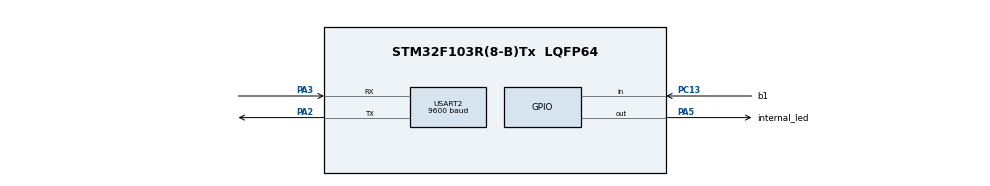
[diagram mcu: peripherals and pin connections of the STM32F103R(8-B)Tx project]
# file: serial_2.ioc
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Mcu.Family=STM32F1
Mcu.Name=STM32F103R(8-B)Tx
Mcu.Package=LQFP64
NVIC.PriorityGroup=NVIC_PRIORITYGROUP_4
NVIC.USART2_IRQn=true\:0\:0\:false\:false\:true
PA2.Mode=Asynchronous
PA2.Signal=USART2_TX
PA3.Mode=Asynchronous
PA3.Signal=USART2_RX
PA5.GPIO_Label=internal_led
PA5.Signal=GPIO_Output
PC13-TAMPER-RTC.GPIO_Label=b1
PC13-TAMPER-RTC.Signal=GPIO_Input
ProjectManager.HeapSize=0x200
ProjectManager.StackSize=0x400
ProjectManager.TargetToolchain=MDK-ARM V5
RCC.APB1Freq_Value=8000000
RCC.APB2Freq_Value=8000000
USART2.BaudRate=9600
USART2.VirtualMode=VM_ASYNC
VP_SYS_VS_ND.Mode=No_Debug
board=serial_2

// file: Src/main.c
/**
  ******************************************************************************
  * File Name          : main.c
  * Description        : Main program body
  ******************************************************************************
  ** This notice applies to any and all portions of this file
  * that are not between comment pairs USER CODE BEGIN and
  * USER CODE END. Other portions of this file, whether
  * inserted by the user or by software development tools
  * are owned by their respective copyright owners.
  *
  * COPYRIGHT(c) 2017 STMicroelectronics
  *
  * Redistribution and use in source and binary forms, with or without modification,
  * are permitted provided that the following conditions are met:
  *   1. Redistributions of source code must retain the above copyright notice,
  *      this list of conditions and the following disclaimer.
  *   2. Redistributions in binary form must reproduce the above copyright notice,
  *      this list of conditions and the following disclaimer in the documentation
  *      and/or other materials provided with the distribution.
  *   3. Neither the name of STMicroelectronics nor the names of its contributors
  *      may be used to endorse or promote products derived from this software
  *      without specific prior written permission.
  *
  * THIS SOFTWARE IS PROVIDED BY THE COPYRIGHT HOLDERS AND CONTRIBUTORS "AS IS"
  * AND ANY EXPRESS OR IMPLIED WARRANTIES, INCLUDING, BUT NOT LIMITED TO, THE
  * IMPLIED WARRANTIES OF MERCHANTABILITY AND FITNESS FOR A PARTICULAR PURPOSE ARE
  * DISCLAIMED. IN NO EVENT SHALL THE COPYRIGHT HOLDER OR CONTRIBUTORS BE LIABLE
  * FOR ANY DIRECT, INDIRECT, INCIDENTAL, SPECIAL, EXEMPLARY, OR CONSEQUENTIAL
  * DAMAGES (INCLUDING, BUT NOT LIMITED TO, PROCUREMENT OF SUBSTITUTE GOODS OR
  * SERVICES; LOSS OF USE, DATA, OR PROFITS; OR BUSINESS INTERRUPTION) HOWEVER
  * CAUSED AND ON ANY THEORY OF LIABILITY, WHETHER IN CONTRACT, STRICT LIABILITY,
  * OR TORT (INCLUDING NEGLIGENCE OR OTHERWISE) ARISING IN ANY WAY OUT OF THE USE
  * OF THIS SOFTWARE, EVEN IF ADVISED OF THE POSSIBILITY OF SUCH DAMAGE.
  *
  ******************************************************************************
  */
#include "main.h"
#include "stm32f1xx_hal.h"

UART_HandleTypeDef huart2;

/* USER CODE BEGIN PV */
/* Private variables ---------------------------------------------------------*/

/* USER CODE END PV */

void SystemClock_Config(void);
static void MX_GPIO_Init(void);
static void MX_USART2_UART_Init(void);

/* USER CODE BEGIN PFP */
/* Private function prototypes -----------------------------------------------*/

/* USER CODE END PFP */

int main(void)
{

  /* MCU Configuration----------------------------------------------------------*/

  /* Reset of all peripherals, Initializes the Flash interface and the Systick. */
  HAL_Init();

  /* Configure the system clock */
  SystemClock_Config();

  /* Initialize all configured peripherals */
  MX_GPIO_Init();
  MX_USART2_UART_Init();

  /* USER CODE BEGIN 2 */

	HAL_StatusTypeDef RcvStat ;
	uint8_t bufftx[10] = "Hello!\n" ;
	uint8_t b_in[10] = "b_in\n" ;
	uint8_t UsartData[10] ;
	uint8_t pin_state ;

	HAL_UART_Transmit(&huart2, bufftx, 10, 100) ;

  /* USER CODE END 2 */

  /* Infinite loop */
  while (1)
  {

  /* USER CODE BEGIN 3 */

		RcvStat = HAL_UART_Receive(&huart2, UsartData, 1, 100) ;

		if (RcvStat == HAL_OK) {
			if (UsartData[0] == 'a') {  // if serial input is 'a', led on
				HAL_GPIO_WritePin(internal_led_GPIO_Port, internal_led_Pin, GPIO_PIN_SET) ;
			} else if (UsartData[0] == 'b') {  // if serial input is 'a', led off
				HAL_GPIO_WritePin(internal_led_GPIO_Port, internal_led_Pin, GPIO_PIN_RESET) ;
			}

			HAL_UART_Transmit(&huart2, UsartData, 1, 100) ;
		}

		pin_state = HAL_GPIO_ReadPin(b1_GPIO_Port, b1_Pin) ;

		if (!pin_state) {  // if b1 is low, send b_in
			HAL_UART_Transmit(&huart2, b_in, 10, 100) ;
		}

  }
  /* USER CODE END 3 */

}

/** System Clock Configuration
*/
void SystemClock_Config(void)
{

  RCC_OscInitTypeDef RCC_OscInitStruct;
  RCC_ClkInitTypeDef RCC_ClkInitStruct;

    /**Initializes the CPU, AHB and APB busses clocks
    */
  RCC_OscInitStruct.OscillatorType = RCC_OSCILLATORTYPE_HSI;
  RCC_OscInitStruct.HSIState = RCC_HSI_ON;
  RCC_OscInitStruct.HSICalibrationValue = 16;
  RCC_OscInitStruct.PLL.PLLState = RCC_PLL_NONE;
  if (HAL_RCC_OscConfig(&RCC_OscInitStruct) != HAL_OK)
  {
    _Error_Handler(__FILE__, __LINE__);
  }

    /**Initializes the CPU, AHB and APB busses clocks
    */
  RCC_ClkInitStruct.ClockType = RCC_CLOCKTYPE_HCLK|RCC_CLOCKTYPE_SYSCLK
                              |RCC_CLOCKTYPE_PCLK1|RCC_CLOCKTYPE_PCLK2;
  RCC_ClkInitStruct.SYSCLKSource = RCC_SYSCLKSOURCE_HSI;
  RCC_ClkInitStruct.AHBCLKDivider = RCC_SYSCLK_DIV1;
  RCC_ClkInitStruct.APB1CLKDivider = RCC_HCLK_DIV1;
  RCC_ClkInitStruct.APB2CLKDivider = RCC_HCLK_DIV1;

  if (HAL_RCC_ClockConfig(&RCC_ClkInitStruct, FLASH_LATENCY_0) != HAL_OK)
  {
    _Error_Handler(__FILE__, __LINE__);
  }

    /**Configure the Systick interrupt time
    */
  HAL_SYSTICK_Config(HAL_RCC_GetHCLKFreq()/1000);

    /**Configure the Systick
    */
  HAL_SYSTICK_CLKSourceConfig(SYSTICK_CLKSOURCE_HCLK);

  /* SysTick_IRQn interrupt configuration */
  HAL_NVIC_SetPriority(SysTick_IRQn, 0, 0);
}

/* USART2 init function */
static void MX_USART2_UART_Init(void)
{

  huart2.Instance = USART2;
  huart2.Init.BaudRate = 9600;
  huart2.Init.WordLength = UART_WORDLENGTH_8B;
  huart2.Init.StopBits = UART_STOPBITS_1;
  huart2.Init.Parity = UART_PARITY_NONE;
  huart2.Init.Mode = UART_MODE_TX_RX;
  huart2.Init.HwFlowCtl = UART_HWCONTROL_NONE;
  huart2.Init.OverSampling = UART_OVERSAMPLING_16;
  if (HAL_UART_Init(&huart2) != HAL_OK)
  {
    _Error_Handler(__FILE__, __LINE__);
  }

}

/** Configure pins as
        * Analog
        * Input
        * Output
        * EVENT_OUT
        * EXTI
*/
static void MX_GPIO_Init(void)
{

  GPIO_InitTypeDef GPIO_InitStruct;

  /* GPIO Ports Clock Enable */
  __HAL_RCC_GPIOC_CLK_ENABLE();
  __HAL_RCC_GPIOA_CLK_ENABLE();

  /*Configure GPIO pin Output Level */
  HAL_GPIO_WritePin(internal_led_GPIO_Port, internal_led_Pin, GPIO_PIN_RESET);

  /*Configure GPIO pin : b1_Pin */
  GPIO_InitStruct.Pin = b1_Pin;
  GPIO_InitStruct.Mode = GPIO_MODE_INPUT;
  GPIO_InitStruct.Pull = GPIO_NOPULL;
  HAL_GPIO_Init(b1_GPIO_Port, &GPIO_InitStruct);

  /*Configure GPIO pin : internal_led_Pin */
  GPIO_InitStruct.Pin = internal_led_Pin;
  GPIO_InitStruct.Mode = GPIO_MODE_OUTPUT_PP;
  GPIO_InitStruct.Speed = GPIO_SPEED_FREQ_LOW;
  HAL_GPIO_Init(internal_led_GPIO_Port, &GPIO_InitStruct);

}

void _Error_Handler(char * file, int line)
{
  while(1)
  {
  }
}

/************************ (C) COPYRIGHT STMicroelectronics *****END OF FILE****/
